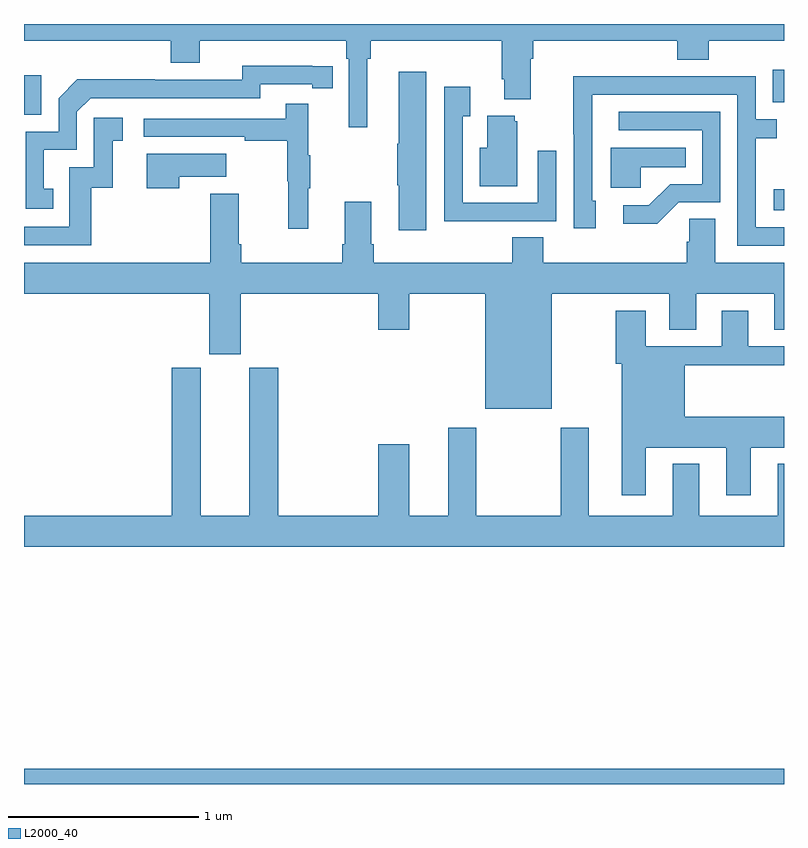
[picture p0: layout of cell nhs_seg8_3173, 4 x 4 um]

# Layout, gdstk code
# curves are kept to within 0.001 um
import gdstk
lib = gdstk.Library(unit=1e-6, precision=1e-09)
def R(c, l, rs):  # rectangles x0, y0, x1, y1
    for r in rs: c.add(gdstk.rectangle(r[:2], r[2:], *l))
def P(c, l, *ps):  # polygons
    for p in ps: c.add(gdstk.Polygon(p, *l))
L2000_40 = (2000, 40)

nhs_seg8_3173 = lib.new_cell('nhs_seg8_3173')
R(nhs_seg8_3173, L2000_40, [(307,1133.9,311,1133.98), (310.947,1136.921,311,1137.031), (307,1137.423,307.092,1137.631), (310.941,1137.489,311,1137.658)])
P(nhs_seg8_3173, L2000_40, [(308.806,1137.716),(308.825,1137.716),(308.825,1137.812),(309.515,1137.812),(309.515,1137.61),(309.527,1137.61),(309.527,1137.503),(309.667,1137.503),(309.667,1137.716),(309.68,1137.716),(309.68,1137.812),(310.439,1137.812),(310.439,1137.713),(310.604,1137.713),(310.604,1137.812),(311,1137.812),(311,1137.9),(307,1137.9),(307,1137.812),(307.772,1137.812),(307.772,1137.695),(307.924,1137.695),(307.924,1137.812),(308.696,1137.812),(308.696,1137.716),(308.709,1137.716),(308.709,1137.357),(308.806,1137.357)],
  [(307.154,1137.033),(307.105,1137.033),(307.105,1137.237),(307.278,1137.237),(307.278,1137.438),(307.35,1137.51),(308.244,1137.51),(308.244,1137.582),(308.516,1137.582),(308.516,1137.562),(308.624,1137.562),(308.624,1137.678),(308.148,1137.679),(308.148,1137.606),(307.688,1137.606),(307.688,1137.608),(307.28,1137.608),(307.182,1137.51),(307.182,1137.333),(307.008,1137.333),(307.008,1136.928),(307.154,1136.928)],
  [(309.118,1137.649),(308.972,1137.649),(308.972,1137.269),(308.965,1137.269),(308.965,1137.052),(308.972,1137.052),(308.972,1136.814),(309.118,1136.814)],
  [(311,1136.829),(310.851,1136.829),(310.851,1137.298),(310.961,1137.298),(310.961,1137.399),(310.851,1137.399),(310.851,1137.624),(310.355,1137.624),(310.355,1137.626),(309.892,1137.626),(309.892,1137.319),(309.894,1137.319),(309.894,1136.826),(310.009,1136.826),(310.009,1136.97),(309.99,1136.97),(309.99,1137.274),(309.991,1137.274),(309.991,1137.528),(310.755,1137.528),(310.755,1136.733),(311,1136.733)],
  [(309.485,1136.862),(309.801,1136.862),(309.801,1137.232),(309.705,1137.232),(309.705,1136.958),(309.309,1136.958),(309.309,1137.415),(309.349,1137.415),(309.349,1137.571),(309.213,1137.571),(309.213,1136.861),(309.485,1136.861)],
  [(308.495,1137.035),(308.506,1137.035),(308.506,1137.209),(308.495,1137.209),(308.495,1137.481),(308.377,1137.481),(308.377,1137.402),(307.629,1137.402),(307.629,1137.306),(308.161,1137.306),(308.161,1137.286),(308.385,1137.286),(308.385,1137.072),(308.392,1137.072),(308.392,1136.823),(308.495,1136.823)],
  [(310.446,1136.961),(310.665,1136.961),(310.665,1137.438),(310.131,1137.438),(310.131,1137.342),(310.569,1137.342),(310.569,1137.057),(310.4,1137.057),(310.289,1136.946),(310.155,1136.946),(310.155,1136.849),(310.333,1136.849)],
  [(309.595,1137.387),(309.584,1137.387),(309.584,1137.418),(309.437,1137.418),(309.437,1137.25),(309.398,1137.25),(309.398,1137.047),(309.595,1137.047)],
  [(307.355,1137.039),(307.466,1137.039),(307.466,1137.285),(307.519,1137.285),(307.519,1137.406),(307.368,1137.406),(307.368,1137.147),(307.239,1137.147),(307.239,1136.832),(307,1136.832),(307,1136.736),(307.355,1136.736)],
  [(310.245,1137.146),(310.484,1137.146),(310.484,1137.25),(310.088,1137.25),(310.088,1137.038),(310.245,1137.038)],
  [(307.817,1137.095),(308.065,1137.095),(308.065,1137.217),(307.646,1137.217),(307.646,1137.036),(307.817,1137.036)],
  [(309.778,1136.48),(310.397,1136.48),(310.397,1136.29),(310.537,1136.29),(310.537,1136.48),(310.949,1136.48),(310.949,1136.29),(311,1136.29),(311,1136.644),(310.639,1136.644),(310.639,1136.876),(310.5,1136.876),(310.5,1136.753),(310.487,1136.753),(310.487,1136.644),(309.734,1136.644),(309.734,1136.777),(309.569,1136.777),(309.569,1136.644),(308.84,1136.644),(308.84,1136.74),(308.827,1136.74),(308.827,1136.965),(308.687,1136.965),(308.687,1136.74),(308.675,1136.74),(308.675,1136.644),(308.144,1136.644),(308.144,1136.74),(308.131,1136.74),(308.131,1137.007),(307.979,1137.007),(307.979,1136.644),(307,1136.644),(307,1136.48),(307.976,1136.48),(307.976,1136.163),(308.14,1136.163),(308.14,1136.48),(308.864,1136.48),(308.864,1136.292),(309.028,1136.292),(309.028,1136.48),(309.428,1136.48),(309.428,1135.874),(309.778,1135.874)],
  [(310.273,1135.67),(310.697,1135.67),(310.697,1135.419),(310.825,1135.419),(310.825,1135.67),(311,1135.67),(311,1135.834),(310.477,1135.834),(310.477,1136.104),(311,1136.104),(311,1136.205),(310.813,1136.205),(310.813,1136.392),(310.673,1136.392),(310.673,1136.205),(310.273,1136.205),(310.273,1136.392),(310.114,1136.392),(310.114,1136.112),(310.145,1136.112),(310.145,1135.419),(310.273,1135.419)],
  [(311,1135.585),(310.967,1135.585),(310.967,1135.312),(310.555,1135.312),(310.555,1135.585),(310.415,1135.585),(310.415,1135.312),(309.973,1135.312),(309.973,1135.774),(309.826,1135.774),(309.826,1135.312),(309.381,1135.312),(309.381,1135.774),(309.233,1135.774),(309.233,1135.312),(309.028,1135.312),(309.028,1135.687),(308.864,1135.687),(308.864,1135.312),(308.339,1135.312),(308.339,1136.091),(308.186,1136.091),(308.186,1135.312),(307.93,1135.312),(307.93,1136.091),(307.778,1136.091),(307.778,1135.312),(307,1135.312),(307,1135.148),(311,1135.148)])

lib.write_gds('nhs_seg8_3173.gds')
